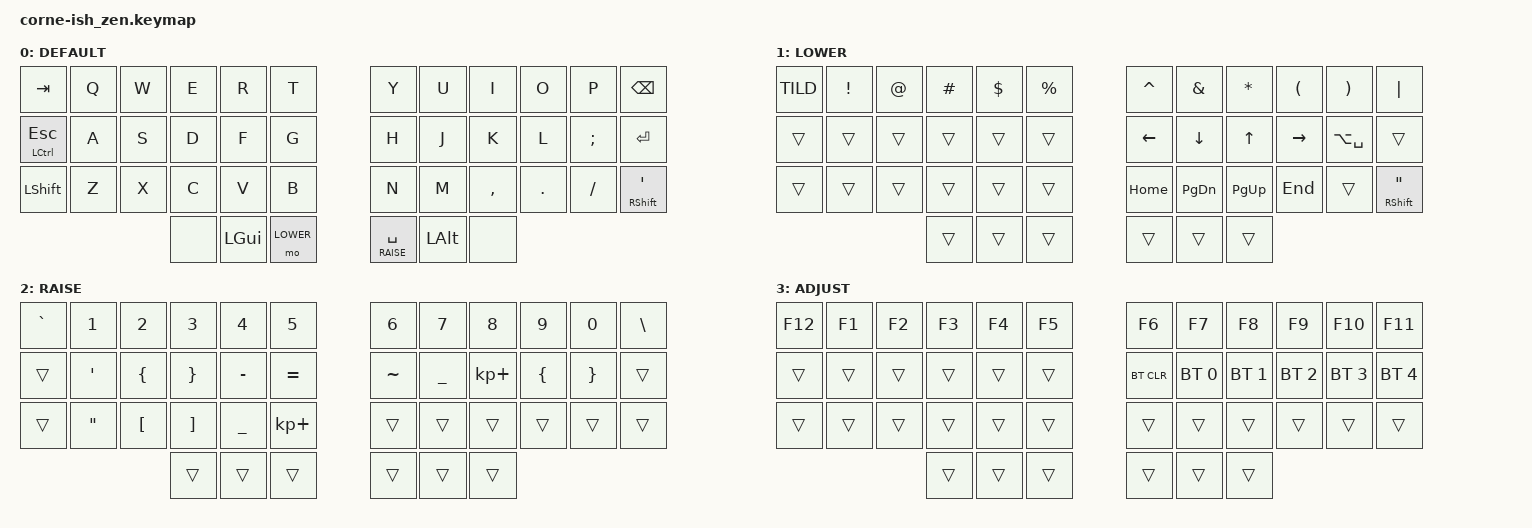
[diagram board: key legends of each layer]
/*
*
* Copyright (c) 2021 lowprokb.ca
* SPDX-License-Identifier: MIT
*
*/

#include <behaviors.dtsi>
#include <dt-bindings/zmk/keys.h>
#include <dt-bindings/zmk/bt.h>

#define DEFAULT 0
#define LOWER   1
#define RAISE   2
#define ADJUST  3

/ {
        keymap {
                compatible = "zmk,keymap";

                default_layer {
                        label = "DEFAULT";
                        bindings = <
   &kp TAB      &kp Q &kp W &kp E &kp R    &kp T        &kp Y         &kp U    &kp I     &kp O   &kp P    &kp BSPC
   &mt LCTL ESC &kp A &kp S &kp D &kp F    &kp G        &kp H         &kp J    &kp K     &kp L   &kp SEMI &kp RET
   &kp LSHFT    &kp Z &kp X &kp C &kp V    &kp B        &kp N         &kp M    &kp COMMA &kp DOT &kp FSLH &mt RSHFT SQT
                            &none &kp LGUI &mo LOWER    &lt RAISE SPC &kp LALT &none
                        >;
                };

                lower_layer {
                        label = "LOWER";
                        bindings = <
   &kp TILD &kp EXCL &kp AT &kp HASH &kp DLLR &kp PRCNT    &kp CARET &kp AMPS  &kp ASTRK &kp LPAR  &kp RPAR      &kp PIPE
   &trans   &trans   &trans &trans   &trans   &trans       &kp LEFT  &kp DOWN  &kp UP    &kp RIGHT &kp LA(SPACE) &trans
   &trans   &trans   &trans &trans   &trans   &trans       &kp HOME  &kp PG_DN &kp PG_UP &kp END   &trans        &mt RSHFT DQT
                          	&trans   &trans   &trans       &trans    &trans    &trans
                        >;
                };

                raise_layer {
                        label = "RAISE";
                        bindings = <
   &kp GRAVE &kp N1  &kp N2   &kp N3   &kp N4    &kp N5         &kp N6    &kp N7    &kp N8      &kp N9   &kp N0   &kp BSLH
   &trans    &kp SQT &kp LBRC &kp RBRC &kp MINUS &kp EQUAL      &kp TILDE &kp UNDER &kp KP_PLUS &kp LBRC &kp RBRC &trans
   &trans    &kp DQT &kp LBKT &kp RBKT &kp UNDER &kp KP_PLUS    &trans    &trans    &trans      &trans   &trans   &trans
                          	  &trans   &trans    &trans         &trans    &trans    &trans
                        >;
                };

                adjust_layer {
                        label = "ADJUST";
                        bindings = <
   &kp F12 &kp F1 &kp F2 &kp F3 &kp F4 &kp F5    &kp F6     &kp F7       &kp F8       &kp F9       &kp F10       &kp F11
   &trans  &trans &trans &trans &trans &trans    &bt BT_CLR &bt BT_SEL 0 &bt BT_SEL 1 &bt BT_SEL 2 &bt BT_SEL 3  &bt BT_SEL 4
   &trans  &trans &trans &trans &trans &trans    &trans     &trans       &trans       &trans       &trans        &trans
                         &trans &trans &trans    &trans     &trans       &trans
                        >;
                };

        };
};
